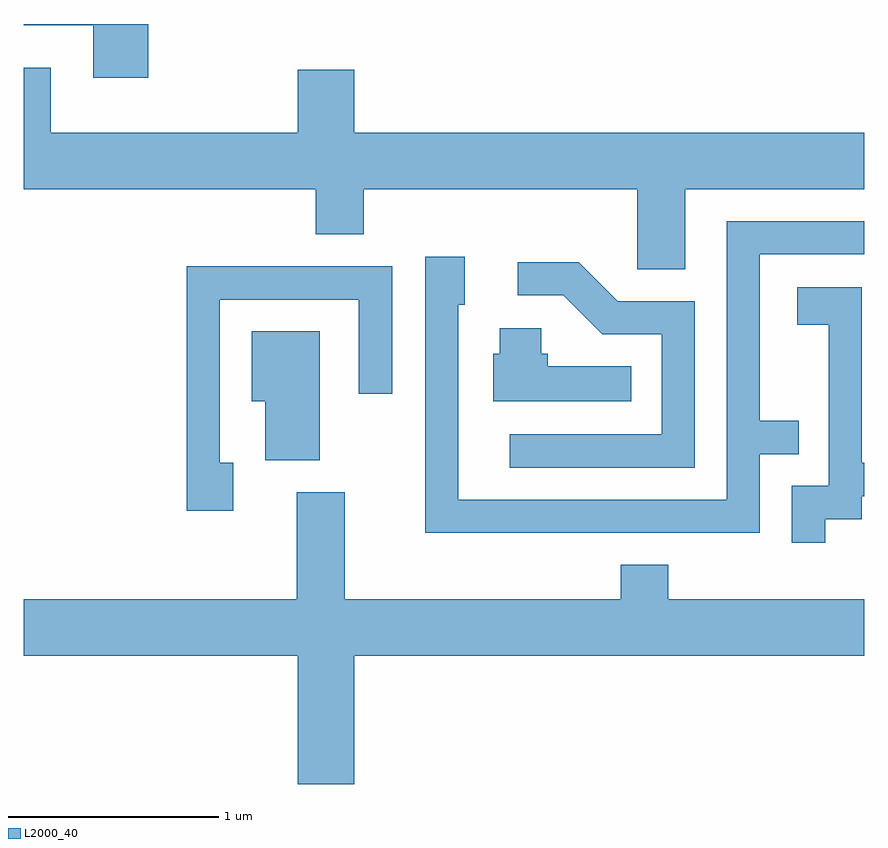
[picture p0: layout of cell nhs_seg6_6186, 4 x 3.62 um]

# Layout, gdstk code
import gdstk
lib = gdstk.Library(unit=1e-6, precision=1e-09)
def P(c, l, *ps):  # polygons
    for p in ps: c.add(gdstk.Polygon(p, *l))
L2000_40 = (2000, 40)

nhs_seg6_6186 = lib.new_cell('nhs_seg6_6186')
P(nhs_seg6_6186, L2000_40, [(374.204,1544.162),(373.611,1544.162),(373.611,1544.156),(373.941,1544.156),(373.941,1543.906),(374.204,1543.906)],
  [(376.759,1543.376),(377.611,1543.376),(377.611,1543.644),(375.184,1543.644),(375.184,1543.944),(374.916,1543.944),(374.916,1543.644),(373.739,1543.644),(373.739,1543.954),(373.611,1543.954),(373.611,1543.376),(375.001,1543.376),(375.001,1543.161),(375.229,1543.161),(375.229,1543.376),(376.531,1543.376),(376.531,1542.996),(376.759,1542.996)],
  [(377.114,1542.116),(377.298,1542.116),(377.298,1542.274),(377.114,1542.274),(377.114,1543.066),(377.611,1543.066),(377.611,1543.224),(376.956,1543.224),(376.956,1541.899),(375.679,1541.899),(375.679,1542.826),(375.709,1542.826),(375.709,1543.054),(375.521,1543.054),(375.521,1541.741),(377.114,1541.741)],
  [(376.804,1542.844),(376.437,1542.844),(376.252,1543.029),(375.963,1543.029),(375.963,1542.871),(376.179,1542.871),(376.364,1542.686),(376.646,1542.686),(376.646,1542.209),(375.923,1542.209),(375.923,1542.051),(376.804,1542.051)],
  [(374.609,1542.074),(374.544,1542.074),(374.544,1542.851),(375.206,1542.851),(375.206,1542.403),(375.364,1542.403),(375.364,1543.009),(374.386,1543.009),(374.386,1541.846),(374.609,1541.846)],
  [(377.424,1541.806),(377.599,1541.806),(377.599,1541.916),(377.611,1541.916),(377.611,1542.074),(377.599,1542.074),(377.599,1542.909),(377.291,1542.909),(377.291,1542.731),(377.441,1542.731),(377.441,1541.964),(377.266,1541.964),(377.266,1541.693),(377.424,1541.693)],
  [(376.503,1542.534),(376.104,1542.534),(376.104,1542.594),(376.074,1542.594),(376.074,1542.714),(375.876,1542.714),(375.876,1542.594),(375.846,1542.594),(375.846,1542.366),(376.503,1542.366)],
  [(375.019,1542.699),(374.696,1542.699),(374.696,1542.366),(374.761,1542.366),(374.761,1542.086),(375.019,1542.086)],
  [(375.184,1541.156),(377.611,1541.156),(377.611,1541.424),(376.679,1541.424),(376.679,1541.589),(376.451,1541.589),(376.451,1541.424),(375.139,1541.424),(375.139,1541.934),(374.911,1541.934),(374.911,1541.424),(373.611,1541.424),(373.611,1541.156),(374.916,1541.156),(374.916,1540.546),(375.184,1540.546)])

lib.write_gds('nhs_seg6_6186.gds')
